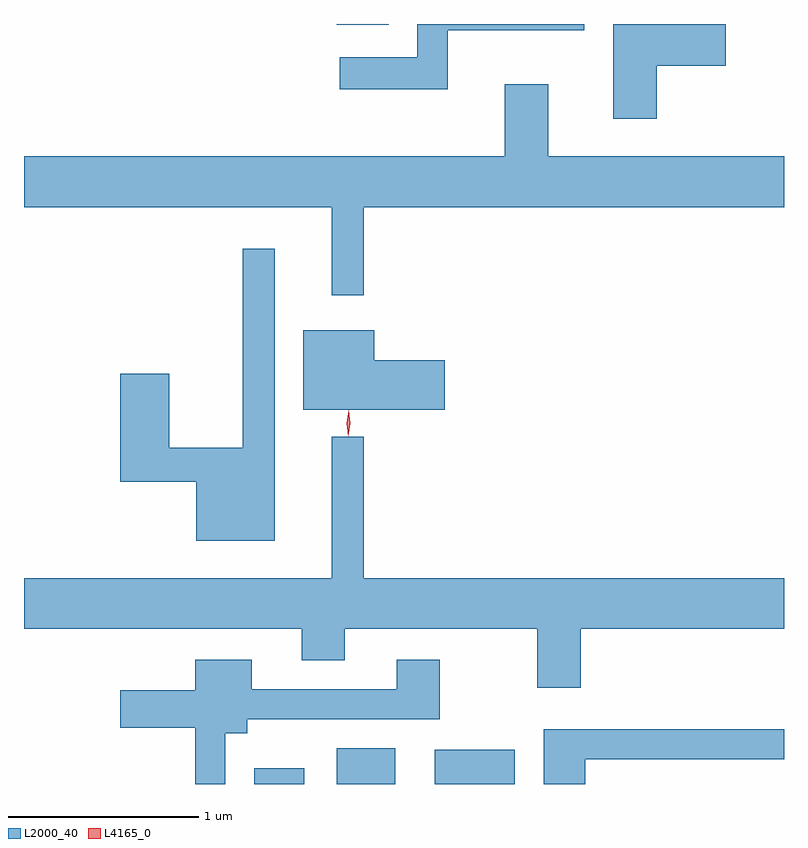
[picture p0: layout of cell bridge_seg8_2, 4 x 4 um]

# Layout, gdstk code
import gdstk
lib = gdstk.Library(unit=1e-6, precision=1e-09)
def R(c, l, rs):  # rectangles x0, y0, x1, y1
    for r in rs: c.add(gdstk.rectangle(r[:2], r[2:], *l))
def P(c, l, *ps):  # polygons
    for p in ps: c.add(gdstk.Polygon(p, *l))
L2000_40 = (2000, 40)
L4165_0 = (4165, 0)

bridge_seg8_2 = lib.new_cell('bridge_seg8_2')
R(bridge_seg8_2, L2000_40, [(1688.201,1908.86,1688.464,1908.944), (1688.636,1908.86,1688.944,1909.049), (1689.151,1908.86,1689.574,1909.039), (1688.636,1912.856,1688.909,1912.86)])
P(bridge_seg8_2, L2000_40, [(1689.219,1912.826),(1689.939,1912.826),(1689.939,1912.86),(1689.061,1912.86),(1689.061,1912.684),(1688.653,1912.684),(1688.653,1912.516),(1689.219,1912.516)],
  [(1690.319,1912.641),(1690.684,1912.641),(1690.684,1912.86),(1690.091,1912.86),(1690.091,1912.361),(1690.319,1912.361)],
  [(1688.779,1911.896),(1690.99,1911.896),(1690.99,1912.164),(1689.749,1912.164),(1689.749,1912.544),(1689.521,1912.544),(1689.521,1912.164),(1686.99,1912.164),(1686.99,1911.896),(1688.611,1911.896),(1688.611,1911.433),(1688.779,1911.433)],
  [(1688.309,1911.678),(1688.141,1911.678),(1688.141,1910.629),(1687.754,1910.629),(1687.754,1911.019),(1687.496,1911.019),(1687.496,1910.451),(1687.896,1910.451),(1687.896,1910.141),(1688.309,1910.141)],
  [(1689.204,1911.089),(1688.834,1911.089),(1688.834,1911.249),(1688.461,1911.249),(1688.461,1910.831),(1689.204,1910.831)],
  [(1688.779,1910.688),(1688.611,1910.688),(1688.611,1909.944),(1686.99,1909.944),(1686.99,1909.676),(1688.451,1909.676),(1688.451,1909.511),(1688.679,1909.511),(1688.679,1909.676),(1689.691,1909.676),(1689.691,1909.366),(1689.919,1909.366),(1689.919,1909.676),(1690.99,1909.676),(1690.99,1909.944),(1688.779,1909.944)],
  [(1688.049,1909.126),(1688.164,1909.126),(1688.164,1909.201),(1689.179,1909.201),(1689.179,1909.514),(1688.951,1909.514),(1688.951,1909.359),(1688.189,1909.359),(1688.189,1909.514),(1687.891,1909.514),(1687.891,1909.354),(1687.496,1909.354),(1687.496,1909.156),(1687.891,1909.156),(1687.891,1908.86),(1688.049,1908.86)],
  [(1689.944,1908.991),(1690.99,1908.991),(1690.99,1909.149),(1689.726,1909.149),(1689.726,1908.86),(1689.944,1908.86)])
P(bridge_seg8_2, L4165_0, [(1688.696,1910.69),(1688.688,1910.758),(1688.698,1910.826),(1688.698,1910.826),(1688.699,1910.826),(1688.708,1910.758),(1688.697,1910.69),(1688.697,1910.69)],
  [(1688.697,1910.693),(1688.696,1910.694),(1688.688,1910.757),(1688.699,1910.819),(1688.699,1910.82),(1688.7,1910.819),(1688.708,1910.756),(1688.697,1910.694)])

lib.write_gds('bridge_seg8_2.gds')
